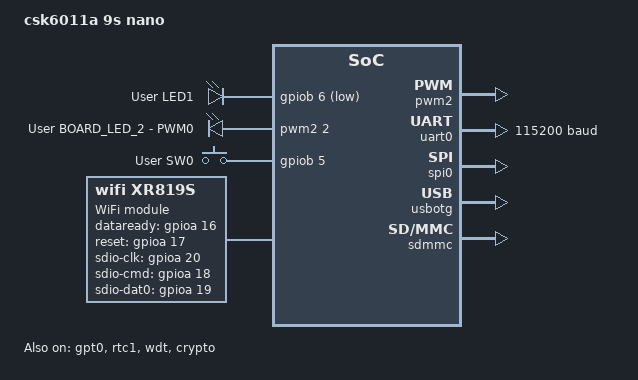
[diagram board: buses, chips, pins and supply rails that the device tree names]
/* SPDX-License-Identifier: Apache-2.0 */

/dts-v1/;
#include <csk/csk6.dtsi>
#include <dt-bindings/pwm/pwm.h>
#include <dt-bindings/gpio/gpio.h>
#include "csk6011a_9s_nano_pinctrl.dtsi"

/ {
        model = "csk6011a 9s nano";
        compatible = "csk,csk6011a_9s_nano";
        aliases {
                led0 = &green_led;
                sw0 = &user_button_0;
                pwm-led0 = &green_pwm_led;
                i2c-0 = &i2c0;
                i2c-1 = &i2c1;
        };

        chosen {
                zephyr,console = &uart0;
                zephyr,shell-uart = &uart0;
                zephyr,sram = &sram0;
                zephyr,itcm = &itcm0;
                zephyr,flash = &flash0;
                zephyr,flash_controller = &flash;
                zephyr,entropy = &trng;
                /* other chosen settings  for your hardware */
        };

        leds {
                compatible = "gpio-leds";
                green_led: led1 {
                        gpios = <&gpiob 6 GPIO_ACTIVE_LOW>;
                        label = "User LED1";
                };
        };

        pwmleds {
		compatible = "pwm-leds";
		green_pwm_led: green_pwm_led {
                        /* PWM LED will conflict with User LED1 since using the same gpio pin */                        
			pwms = <&pwm2 2 PWM_MSEC(20) PWM_POLARITY_NORMAL>;
			label = "User BOARD_LED_2 - PWM0";
		};

	};

        gpio_keys {
                compatible = "gpio-keys";
                user_button_0: button_0 {
                        label = "User SW0";
                        gpios = <&gpiob 5 0>;
                };
        };

        wifi_module: xr819s {
                compatible = "wifi,xr819s";
                label = "WiFi module";
                dataready-gpios = <&gpioa 16 0>;
                reset-gpios = <&gpioa 17 0>;
                sdio-clk-gpios = <&gpioa 20 0>;
                sdio-cmd-gpios = <&gpioa 18 0>;
                sdio-dat0-gpios = <&gpioa 19 0>;
                status = "okay";
        };

        /*
         * Your board-specific hardware: buttons, LEDs, sensors, etc.
         */
};

&gpt0 {
	status = "okay";

	pwm2: pwm2 {
                clock-prescaler = <128>;
                status = "okay";
	};

};

&pwm2 {
        pinctrl-0 = <&pinctrl_pwm2_default>; 
        pinctrl-names = "default";
        status = "okay";
};

&gpioa {
        status = "okay";
};

&gpiob {
        status = "okay";
};

&uart0 {
        pinctrl-0 = <&pinctrl_uart0_rx_default &pinctrl_uart0_tx_default>; 
        pinctrl-names = "default";
        current-speed = <115200>;
        status = "okay";
};

&uart1 {
        status = "disabled";
};

&uart2 {
        status = "disabled";
};

&spi0 {
        pinctrl-0 = <&pinctrl_spi0_sclk_default &pinctrl_spi0_mosi_default &pinctrl_spi0_miso_default &pinctrl_spi0_cs_default>; 
        pinctrl-names = "default";
        status = "okay";
};

&spi1 {
    status = "disabled";
};

&i2c0 {
        status = "disabled";
};

&i2c1 {
        status = "disabled";
};

&mailbox0 {
	status = "okay";
};

&dma0 {
	dma-channels = <6>;
	status = "okay";
};

&rtc1 {
        status = "okay";
};

&flash0 {
        /*
         * For more information, see:
         * http: //docs.zephyrproject.org/latest/guides/dts/index.html#flash-partitions
         */
        reg = <0x18000000 DT_SIZE_M(16)>;
        write-block-size = <4>;
        erase-block-size = <4096>;
        partitions {
                compatible = "fixed-partitions";
                #address-cells = <1>;
                #size-cells = <1>;

                /* wifi driver private storage: 8Kb */
                wifi_driver_storage: partition@6ee000 {
                	label = "wifi_driver_storage";
                	reg = <0x6ee000 0x2000>;
               	};

                /* wifi_nvs_storage: 20Kb */
                wifi_nvs_storage: partition@6F0000 {
                	label = "wifi_nvs_storage";
                	reg = <0x6F0000 0x10000>;
               	};

               	/* storage: 6.625MB for storage */
               	storage_partition: partition@700000 {
               		label = "storage";
               		reg = <0x700000 0x100000>;
                };


        };
};

&psram0 {
        reg = <0x30000000 DT_SIZE_M(8)>;
        #address-cells = <1>;
        #size-cells = <1>;

        /*psram for cp core slot: 6MB */
        psram_cp:psram_cp@30000000{             
                compatible = "listenai,csk6-psram-partition";
                reg = <0x30000000 0x600000>;
                status = "okay";
        };

        /*psram for ap core slot: 1MB */
        psram_ap: psram_ap@30600000 {
                compatible = "zephyr,memory-region","listenai,csk6-psram-partition";
                reg = <0x30600000 0x100000>;
                status = "okay";
                zephyr,memory-region = "PSRAMAP";
        };

        /*psram for ap share with cp slot: 512KB */
        psram_share: psram_share@30700000 {
                compatible = "listenai,csk6-psram-partition";
                reg = <0x30700000 0x80000>;
                status = "okay";
        };
};

zephyr_udc0: &usbotg {
        status = "okay";
        num-bidir-endpoints = <6>;
        num-in-endpoints = <6>;
        num-out-endpoints = <6>;
};

&wdt {
        status = "okay";
};

&adc0 {
        status = "disabled";
};

&crypto {
        status = "okay";
};

&sdmmc {
    status = "okay";
    pinctrl-0 = <
        &pinctrl_sdio_cmd_default 
        &pinctrl_sdio_clk_default
        &pinctrl_sdio_dat0_default
        &pinctrl_sdio_dat1_default
        &pinctrl_sdio_dat2_default
        &pinctrl_sdio_dat3_default
        >; 
    pinctrl-names = "default";
};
